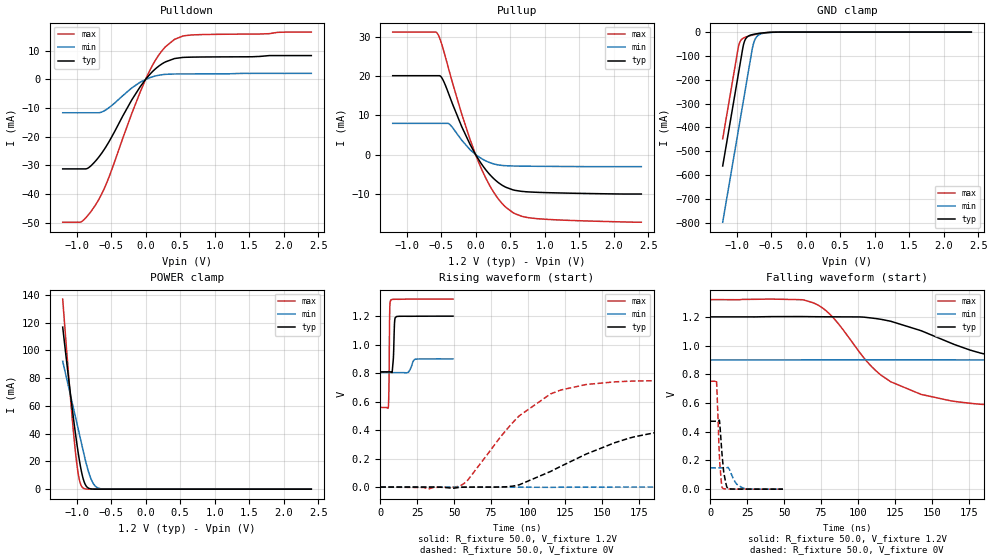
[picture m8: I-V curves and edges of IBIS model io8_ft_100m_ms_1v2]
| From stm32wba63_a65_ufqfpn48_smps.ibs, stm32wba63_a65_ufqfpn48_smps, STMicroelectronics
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[Model]   io8_ft_100m_ms_1v2
Model_type I/O
Polarity   Non-Inverting
Enable   Active-Low
| CAP_THRESHOLD on pad IOFT is "UDTCAPC" :
| Rising=30.0% of vddiom   Falling=70.0% of vddiom
| C_comp min and max val. don't necessarily correlate with the min and max pvt
| but are the smallest and greatest pad capacitance found.
| var   typ   min   max
C_comp   2.87220pF  2.79491pF  2.97971pF
|C_comp_pullup   1.64312pF  1.48357pF  1.78452pF
|C_comp_pulldown   1.22907pF  1.31134pF  1.19519pF
Vinl = 450.0mV
Vinh = 660.0mV
Vmeas = 600.0mV   | Reference voltage for timing measurements
Cref  = 50.0pF   | Timing specification test load capacitance value
Rref  = 1.0MOhm   | Timing specification test load resistance value
Vref  = 660.0mV   | Timing specification test load voltage
[Model Spec]
| TIME_THRESHOLD on pin ZIV11 is "CMOS" :
| Rising=50.0% of vdd   Falling=50.0% of vdd
Vinl 441.50000mV 335.50000mV 487.50000mV
Vinh 755.50000mV 552.50000mV 839.50000mV
| variable   typ   min   max
[Temperature Range] 25.0 140.0 -40.0
| variable   typ   min   max
[Voltage Range] 1.2V 900.0mV 1.32V
| variable   typ   min   max
[POWER Clamp Reference] 1.2V 900.0mV 1.32V
| variable   typ   min   max
[GND Clamp Reference] 0V 0V 0V
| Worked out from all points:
|   slope of the pulldown table from 0 to 0.18 V, typ, clamps not added: 40.6 ohm
|   slope of the pullup table from 0 to 0.18 V, typ, clamps not added: 39.4 ohm
|   GND clamp passes 1 mA (typ) near -0.51 V on its own axis
|   POWER clamp passes 1 mA (typ) near -0.83 V on its own axis
|   rising waveform, R_fixture 50.0, V_fixture 1.2V: 20-80 % time 786ps typ, 2.02ns min, 412ps max; typ from 0.809 V to 1.2 V
|   falling waveform, R_fixture 50.0, V_fixture 1.2V: 20-80 % time 79.8ns typ, 183ns min, 45.4ns max; typ from 1.2 V to 0.809 V
|   rising waveform, R_fixture 50.0, V_fixture 0V: 20-80 % time 72.5ns typ, 173ns min, 41.3ns max; typ from 0 V to 0.473 V
|   falling waveform, R_fixture 50.0, V_fixture 0V: 20-80 % time 2.55ns typ, 4.8ns min, 1.84ns max; typ from 0.473 V to 0 V
[POWER Clamp]
-1.2V     116.7mA    92.13mA    136.9mA
-1.09V    69.42mA    68.21mA    67.14mA
-1.02V    41.75mA    52.99mA    28.91mA
-990mV    30.98mA    46.47mA    16.09mA
-970mV    24.36mA    42.12mA    9.575mA
-940mV    15.59mA    35.6mA     3.485mA
-910mV    8.693mA    29.07mA    1.01mA
-860mV    2.259mA    18.59mA    104.6uA
-780mV    143.1uA    6.246mA    2.555uA
-720mV    16.22uA    1.846mA    157.1nA
-650mV    1.267uA    330.3uA    6.118nA
2.4V      0A         0A         0A
[GND Clamp]
-1.2V     -561.6mA   -797.4mA   -447.4mA
-980mV    -187.6mA   -423.4mA   -73.43mA
-960mV    -153.6mA   -389.4mA   -48.26mA
-900mV    -54.17mA   -287.4mA   -24.97mA
-870mV    -29.55mA   -236.4mA   -21.19mA
-830mV    -17.05mA   -168.4mA   -17.42mA
-760mV    -9.921mA   -54.55mA   -11.89mA
-730mV    -8.191mA   -29.78mA   -9.811mA
-690mV    -6.26mA    -14.49mA   -7.318mA
-600mV    -2.976mA   -4.315mA   -3.058mA
-380mV    -57.63uA   -251uA     -19.49uA
2.4V      872.8pA    204.8nA    349.4pA
| variable   typ   min   max
[Pullup Reference] 1.2V 900.0mV 1.32V
| variable   typ   min   max
[Pulldown Reference] 0V 0V 0V
[Pullup]
-1.2V     20.06mA    7.936mA    31.15mA
-580mV    20.06mA    7.936mA    31.15mA
-550mV    20.06mA    7.936mA    30.73mA
-480mV    19.26mA    7.936mA    27.49mA
-380mV    15.01mA    7.756mA    21.16mA
-200mV    7.069mA    3.64mA     10.26mA
20mV      -590.5uA   -260.8uA   -901.4uA
230mV     -5.55mA    -2.199mA   -8.66mA
440mV     -8.335mA   -2.843mA   -13.44mA
570mV     -9.105mA   -2.921mA   -15.05mA
790mV     -9.528mA   -2.972mA   -16.12mA
2.4V      -10.04mA   -3.075mA   -17.21mA
[Pulldown]
-1.2V     -31.2mA    -11.62mA   -49.78mA
-930mV    -31.2mA    -11.62mA   -49.64mA
-830mV    -30.86mA   -11.62mA   -47.25mA
-710mV    -28.04mA   -11.62mA   -43.19mA
-550mV    -22.55mA   -10.2mA    -35.3mA
-200mV    -7.146mA   -2.964mA   -11.89mA
40mV      1.171mA    405.8uA    2.092mA
130mV     3.416mA    1.118mA    6.182mA
230mV     5.302mA    1.613mA    9.763mA
420mV     7.288mA    1.898mA    13.99mA
670mV     7.779mA    1.924mA    15.51mA
2.4V      8.312mA    2.101mA    16.51mA
[Ramp]
dV/dt_r 283.79486mV/13.91318ns 88.93483mV/33.9664ns 450.99282mV/7.80918ns
dV/dt_f 234.65981mV/15.12407ns 57.89558mV/36.0154ns 456.73593mV/8.71277ns
R_load = 50.0
| Removed startup time: 0s 0s 0s  .
| Removed end time: 49.25ns.
[Rising Waveform]
R_fixture   = 50.0
V_fixture   = 1.2V
V_fixture_min = 900.0mV
V_fixture_max = 1.32V
0s        808.9mV    803.5mV    558.8mV
5.45ns    808.9mV    803.5mV    560.4mV
5.9ns     808.9mV    803.5mV    722.4mV
6.4ns     809mV      803.5mV    1.239V
7.05ns    808.5mV    803.5mV    1.313V
8.85ns    900mV      803.5mV    1.318V
10.05ns   1.188V     803.5mV    1.319V
19.1ns    1.199V     806.8mV    1.32V
23.15ns   1.199V     895.8mV    1.32V
49.25ns   1.2V       899.7mV    1.32V
| Removed startup time: 0s 0s 0s  .
| Removed end time: 1.99625us.
[Falling Waveform]
R_fixture   = 50.0
V_fixture   = 1.2V
V_fixture_min = 900.0mV
V_fixture_max = 1.32V
0s        1.2V       900mV      1.32V
69.5ns    1.201V     900.6mV    1.299V
81.75ns   1.2V       900.6mV    1.21V
106.8ns   1.195V     900.4mV    881.3mV
122.2ns   1.169V     900.5mV    747.8mV
163ns     1.017V     900.3mV    614.9mV
203.8ns   902.6mV    900mV      577.5mV
285.3ns   831.8mV    895.4mV    561.2mV
407.5ns   811.9mV    849.8mV    558.9mV
1.996us   808.9mV    803.5mV    558.8mV
| Removed startup time: 0s 0s 0s  .
| Removed end time: 1.996us.
[Rising Waveform]
R_fixture   = 50.0
V_fixture   = 0V
V_fixture_min = 0V
V_fixture_max = 0V
0s        4.648nV    215.3nV    3.229nV
53.75ns   -2.33mV    543.6nV    8.354mV
59.5ns    -601.7uV   182nV      52.07mV
92ns      10.79mV    -266.6uV   478.1mV
115.3ns   109.3mV    -2.067mV   653.6mV
168.5ns   343.3mV    -35.91uV   743.2mV
203.8ns   418.3mV    172.5uV    749.7mV
311ns     469.4mV    35.54mV    751.5mV
611ns     472.9mV    141.4mV    751.6mV
1.996us   473mV      148.2mV    751.7mV
| Removed startup time: 0s 0s 0s  .
| Removed end time: 49.25ns.
[Falling Waveform]
R_fixture   = 50.0
V_fixture   = 0V
V_fixture_min = 0V
V_fixture_max = 0V
0s        473mV      148.3mV    751.7mV
4.2ns     473mV      148.3mV    755mV
6.25ns    475.3mV    148.3mV    216.5mV
7.45ns    313.4mV    148.3mV    54.51mV
8.05ns    231.4mV    148.3mV    10.98mV
9.1ns     118.9mV    148.3mV    2.707mV
12.05ns   3.101mV    151.8mV    1.043mV
17.65ns   509.2uV    38.05mV    476.3uV
22.15ns   427.1uV    8.186mV    215.3uV
49.25ns   46.9uV     92.62uV    5.772uV
